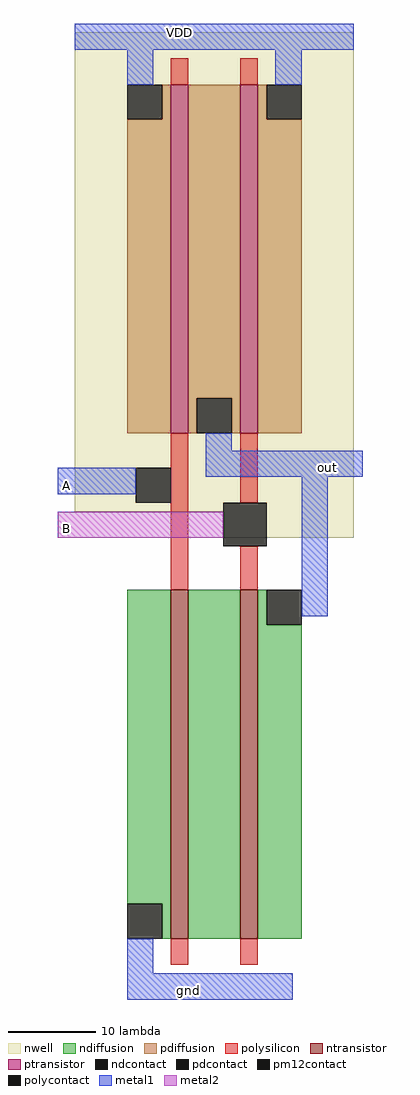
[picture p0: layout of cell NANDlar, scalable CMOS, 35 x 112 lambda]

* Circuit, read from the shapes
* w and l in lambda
.subckt NANDlar A B VDD gnd out
M1 n1 A gnd VSUBS nfet w=40 l=2
M2 out B n1 VSUBS nfet w=40 l=2
M3 out A VDD n2 pfet w=40 l=2
M4 VDD B out n2 pfet w=40 l=2
.ends

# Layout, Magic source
magic
tech scmos
<< nwell >>
rect -211 -76 -179 -21
rect -194 -79 -179 -76
<< ntransistor >>
rect -200 -125 -198 -85
rect -192 -125 -190 -85
<< ptransistor >>
rect -200 -67 -198 -27
rect -192 -67 -190 -27
<< ndiffusion >>
rect -205 -121 -200 -85
rect -201 -125 -200 -121
rect -198 -125 -192 -85
rect -190 -89 -189 -85
rect -190 -125 -185 -89
<< pdiffusion >>
rect -201 -31 -200 -27
rect -205 -67 -200 -31
rect -198 -63 -192 -27
rect -198 -67 -197 -63
rect -193 -67 -192 -63
rect -190 -31 -189 -27
rect -190 -67 -185 -31
<< ndcontact >>
rect -205 -125 -201 -121
rect -189 -89 -185 -85
<< pdcontact >>
rect -205 -31 -201 -27
rect -197 -67 -193 -63
rect -189 -31 -185 -27
<< polysilicon >>
rect -200 -27 -198 -24
rect -192 -27 -190 -24
rect -200 -85 -198 -67
rect -192 -75 -190 -67
rect -192 -85 -190 -80
rect -200 -128 -198 -125
rect -192 -128 -190 -125
<< polycontact >>
rect -204 -75 -200 -71
<< metal1 >>
rect -211 -23 -179 -20
rect -205 -27 -202 -23
rect -188 -27 -185 -23
rect -196 -69 -193 -67
rect -213 -74 -204 -71
rect -196 -72 -178 -69
rect -185 -88 -182 -72
rect -205 -129 -202 -125
rect -205 -132 -186 -129
<< pm12contact >>
rect -194 -80 -189 -75
<< metal2 >>
rect -213 -79 -194 -76
<< labels >>
rlabel metal1 -199 -21 -199 -21 5 VDD
rlabel metal2 -212 -78 -212 -78 3 B
rlabel metal1 -212 -73 -212 -73 3 A
rlabel metal1 -198 -131 -198 -131 1 gnd
rlabel metal1 -182 -71 -182 -71 1 out
<< end >>
